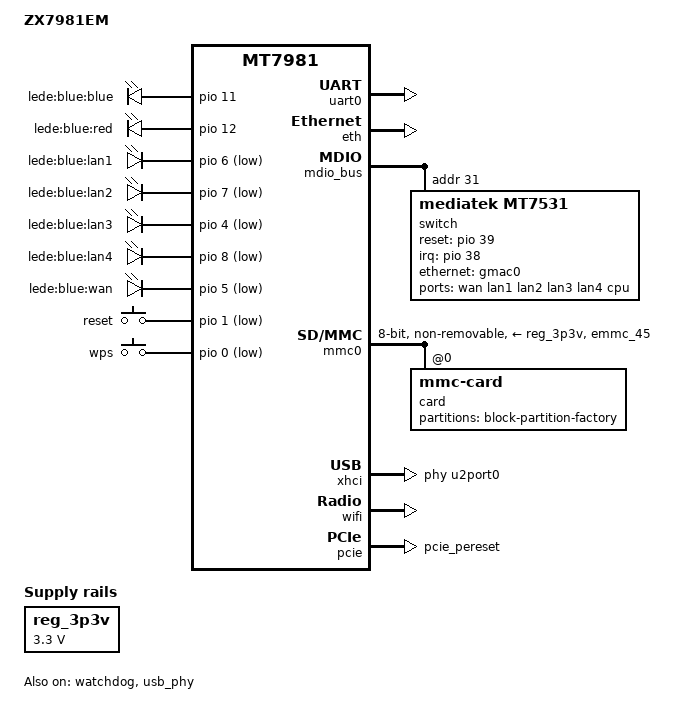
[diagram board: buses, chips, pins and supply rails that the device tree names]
/dts-v1/;

#include "mt7981b.dtsi"

/ {
	model = "ZX7981EM";
	compatible = "ZX7981EM", "mediatek,mt7981";

	aliases {
		label-mac-device = &wan;
		serial0 = &uart0;
	};

	chosen {
		stdout-path = "serial0:115200n8";
		bootargs-append = " root=PARTLABEL=rootfs rootwait";
	};

	reg_3p3v: regulator-3p3v {
		compatible = "regulator-fixed";
		regulator-name = "fixed-3.3V";
		regulator-min-microvolt = <3300000>;
		regulator-max-microvolt = <3300000>;
		regulator-boot-on;
		regulator-always-on;
	};

	gpio-leds {
		compatible = "gpio-leds";

		blue {
			label = "lede:blue:blue";
			gpios = <&pio 11 0>;
			linux,default-trigger = "none";
			default-state = "off";
		};

		red {
			label = "lede:blue:red";
			gpios = <&pio 12 0>;
			linux,default-trigger = "none";
			default-state = "on";
		};

		lan1 {
			label = "lede:blue:lan1";
			gpios = <&pio 6 1>;
			linux,default-trigger = "none";
			default-state = "off";
		};

		lan2 {
			label = "lede:blue:lan2";
			gpios = <&pio 7 1>;
			linux,default-trigger = "none";
			default-state = "off";
		};

		lan3 {
			label = "lede:blue:lan3";
			gpios = <&pio 4 1>;
			linux,default-trigger = "none";
			default-state = "off";
		};

		lan4 {
			label = "lede:blue:lan4";
			gpios = <&pio 8 1>;
			linux,default-trigger = "none";
			default-state = "off";
		};

		wan {
			label = "lede:blue:wan";
			gpios = <&pio 5 1>;
			linux,default-trigger = "none";
			default-state = "off";
		};

	};
	
	gpio-keys-polled {
		compatible = "gpio-keys-polled";
		#address-cells = <1>;
		#size-cells = <0>;
		poll-interval = <20
		>;

		reset {
			label = "reset";
			gpios = <&pio 1 1>;
			linux,code = <KEY_RESTART>;
		};

		wps {
			label = "wps";
			gpios = <&pio 0 1>;
			linux,code = <KEY_WPS_BUTTON>;
		};
	};
};

&uart0 {
	status = "okay";
};

&watchdog {
	status = "okay";
};

&eth {
	status = "okay";

	gmac0: mac@0 {
		compatible = "mediatek,eth-mac";
		reg = <0>;
		phy-mode = "2500base-x";

		nvmem-cell-names = "mac-address";
		nvmem-cells = <&macaddr_factory_4 (-1)>;

		fixed-link {
			speed = <2500>;
			full-duplex;
			pause;
		};
	};
};

&mdio_bus {
	switch: switch@1f {
		compatible = "mediatek,mt7531";
		reg = <0x1f>;
		reset-gpios = <&pio 39 GPIO_ACTIVE_HIGH>;
		interrupt-controller;
		#interrupt-cells = <1>;
		interrupt-parent = <&pio>;
		interrupts = <38 IRQ_TYPE_LEVEL_HIGH>;
	};
};

&switch {
	ports {
		#address-cells = <1>;
		#size-cells = <0>;

	        wan:port@0 {
		        reg = <0>;
		        label = "wan";
		};

		port@1 {
		        reg = <1>;
		        label = "lan1";
		};

		port@2 {
		        reg = <2>;
		        label = "lan2";
		};

		port@3 {
			reg = <3>;
		        label = "lan3";
		};

		port@4 {
			reg = <4>;
		        label = "lan4";
		};

		port@6 {
		        reg = <6>;
		        label = "cpu";
		        ethernet = <&gmac0>;
		        phy-mode = "2500base-x";

		        fixed-link {
		                speed = <2500>;
		                full-duplex;
		                pause;
		        };
		};
	};
};

&pio {
	mmc0_pins_default: mmc0-pins-default {
		mux {
			function = "flash";
			groups = "emmc_45";
		};
	};
	mmc0_pins_uhs: mmc0-pins-uhs {
		mux {
			function = "flash";
			groups = "emmc_45";
		};
	};

	pcie_pins: pcie-pins {
		mux {
			function = "pcie";
			groups = "pcie_pereset";
		};
	};
};

&mmc0 {
	bus-width = <8>;
	cap-mmc-highspeed;
	max-frequency = <52000000>;
	non-removable;
	#address-cells = <1>;
	#size-cells = <0>;
	pinctrl-names = "default", "state_uhs";
	pinctrl-0 = <&mmc0_pins_default>;
	pinctrl-1 = <&mmc0_pins_uhs>;
	vmmc-supply = <&reg_3p3v>;
	status = "okay";

	card@0 {
		compatible = "mmc-card";
		reg = <0>;

		block {
			compatible = "block-device";

			partitions {
				block-partition-factory {
					partname = "factory";

					nvmem-layout {
						compatible = "fixed-layout";
						#address-cells = <1>;
						#size-cells = <1>;

						eeprom_factory_0: eeprom@0 {
							reg = <0x0 0x1000>;
						};

						macaddr_factory_4: macaddr@4 {
							compatible = "mac-base";
							reg = <0x4 0x6>;
							#nvmem-cell-cells = <1>;
						};
					};
				};
			};
		};
	};
};

&usb_phy {
	status = "okay";
};

&xhci {
	phys = <&u2port0 PHY_TYPE_USB2>;
	mediatek,u3p-dis-msk = <0x01>;
	status = "okay";
};

&watchdog {
	status = "okay";
};

&wifi {
	nvmem-cells = <&eeprom_factory_0>;
	nvmem-cell-names = "eeprom";
	status = "okay";
};

&pcie {
	pinctrl-names = "default";
	pinctrl-0 = <&pcie_pins>;
	use-delay = <30>;
	status = "okay";
};

&sgmiisys0 {
	/delete-node/ mediatek,pnswap;
};
